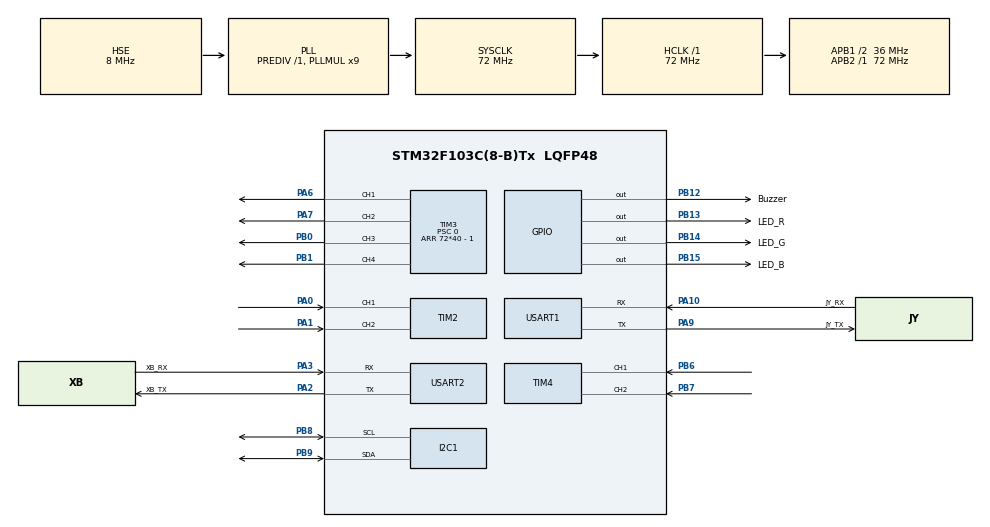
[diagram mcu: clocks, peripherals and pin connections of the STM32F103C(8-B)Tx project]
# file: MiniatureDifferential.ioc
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Dma.Request0=USART2_RX
Dma.Request1=USART1_RX
Dma.USART1_RX.1.Direction=DMA_PERIPH_TO_MEMORY
Dma.USART1_RX.1.Instance=DMA1_Channel5
Dma.USART1_RX.1.MemDataAlignment=DMA_MDATAALIGN_BYTE
Dma.USART1_RX.1.MemInc=DMA_MINC_ENABLE
Dma.USART1_RX.1.Mode=DMA_NORMAL
Dma.USART1_RX.1.PeriphDataAlignment=DMA_PDATAALIGN_BYTE
Dma.USART1_RX.1.PeriphInc=DMA_PINC_DISABLE
Dma.USART1_RX.1.Priority=DMA_PRIORITY_LOW
Dma.USART2_RX.0.Direction=DMA_PERIPH_TO_MEMORY
Dma.USART2_RX.0.Instance=DMA1_Channel6
Dma.USART2_RX.0.MemDataAlignment=DMA_MDATAALIGN_BYTE
Dma.USART2_RX.0.MemInc=DMA_MINC_ENABLE
Dma.USART2_RX.0.Mode=DMA_NORMAL
Dma.USART2_RX.0.PeriphDataAlignment=DMA_PDATAALIGN_BYTE
Dma.USART2_RX.0.PeriphInc=DMA_PINC_DISABLE
Dma.USART2_RX.0.Priority=DMA_PRIORITY_LOW
Mcu.Family=STM32F1
Mcu.Name=STM32F103C(8-B)Tx
Mcu.Package=LQFP48
NVIC.DMA1_Channel5_IRQn=true\:2\:0\:true\:false\:true\:false\:true\:true
NVIC.DMA1_Channel6_IRQn=true\:3\:0\:true\:false\:true\:false\:true\:true
NVIC.PriorityGroup=NVIC_PRIORITYGROUP_4
NVIC.TIM1_UP_IRQn=true\:1\:0\:true\:false\:true\:true\:true\:true
PA0-WKUP.Signal=S_TIM2_CH1_ETR
PA1.Signal=S_TIM2_CH2
PA10.GPIO_Label=JY_RX
PA10.Mode=Asynchronous
PA10.Signal=USART1_RX
PA13.Mode=Serial_Wire
PA13.Signal=SYS_JTMS-SWDIO
PA14.Mode=Serial_Wire
PA14.Signal=SYS_JTCK-SWCLK
PA2.GPIO_Label=XB_TX
PA2.Mode=Asynchronous
PA2.Signal=USART2_TX
PA3.GPIO_Label=XB_RX
PA3.Mode=Asynchronous
PA3.Signal=USART2_RX
PA6.Signal=S_TIM3_CH1
PA7.Signal=S_TIM3_CH2
PA9.GPIO_Label=JY_TX
PA9.Mode=Asynchronous
PA9.Signal=USART1_TX
PB0.Signal=S_TIM3_CH3
PB1.Signal=S_TIM3_CH4
PB12.GPIO_Label=Buzzer
PB12.Signal=GPIO_Output
PB13.GPIO_Label=LED_R
PB13.Signal=GPIO_Output
PB14.GPIO_Label=LED_G
PB14.Signal=GPIO_Output
PB15.GPIO_Label=LED_B
PB15.Signal=GPIO_Output
PB6.Signal=S_TIM4_CH1
PB7.Signal=S_TIM4_CH2
PB8.Mode=I2C
PB8.Signal=I2C1_SCL
PB9.Mode=I2C
PB9.Signal=I2C1_SDA
PD0-OSC_IN.Mode=HSE-External-Oscillator
PD0-OSC_IN.Signal=RCC_OSC_IN
PD1-OSC_OUT.Mode=HSE-External-Oscillator
PD1-OSC_OUT.Signal=RCC_OSC_OUT
ProjectManager.HeapSize=0x200
ProjectManager.StackSize=0x400
ProjectManager.TargetToolchain=STM32CubeIDE
RCC.AHBFreq_Value=72000000
RCC.APB1CLKDivider=RCC_HCLK_DIV2
RCC.APB1Freq_Value=36000000
RCC.APB1TimFreq_Value=72000000
RCC.APB2Freq_Value=72000000
RCC.APB2TimFreq_Value=72000000
RCC.HCLKFreq_Value=72000000
RCC.PLLMUL=RCC_PLL_MUL9
RCC.PLLSourceVirtual=RCC_PLLSOURCE_HSE
RCC.SYSCLKFreq_VALUE=72000000
RCC.SYSCLKSource=RCC_SYSCLKSOURCE_PLLCLK
RCC.USBFreq_Value=72000000
SH.S_TIM2_CH1_ETR.0=TIM2_CH1,Encoder_Interface
SH.S_TIM2_CH2.0=TIM2_CH2,Encoder_Interface
SH.S_TIM3_CH1.0=TIM3_CH1,PWM Generation1 CH1
SH.S_TIM3_CH2.0=TIM3_CH2,PWM Generation2 CH2
SH.S_TIM3_CH3.0=TIM3_CH3,PWM Generation3 CH3
SH.S_TIM3_CH4.0=TIM3_CH4,PWM Generation4 CH4
SH.S_TIM4_CH1.0=TIM4_CH1,Encoder_Interface
SH.S_TIM4_CH2.0=TIM4_CH2,Encoder_Interface
TIM1.Period=50000 - 1
TIM1.Prescaler=72 - 1
TIM2.EncoderMode=TIM_ENCODERMODE_TI12
TIM3.Channel-PWM\ Generation1\ CH1=TIM_CHANNEL_1
TIM3.Channel-PWM\ Generation2\ CH2=TIM_CHANNEL_2
TIM3.Channel-PWM\ Generation3\ CH3=TIM_CHANNEL_3
TIM3.Channel-PWM\ Generation4\ CH4=TIM_CHANNEL_4
TIM3.Period=72*40 - 1
TIM3.Prescaler=0
TIM4.EncoderMode=TIM_ENCODERMODE_TI12
TIM4.IC1Polarity=TIM_ICPOLARITY_FALLING
USART1.VirtualMode=VM_ASYNC
USART2.VirtualMode=VM_ASYNC
VP_TIM1_VS_ClockSourceINT.Mode=Internal
VP_TIM3_VS_ClockSourceINT.Mode=Internal
board=custom

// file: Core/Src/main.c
/* USER CODE BEGIN Header */
/**
 ******************************************************************************
 * @file           : main.c
 * @brief          : Main program body
 ******************************************************************************
 * @attention
 *
 * Copyright (c) 2022 STMicroelectronics.
 * All rights reserved.
 *
 * This software is licensed under terms that can be found in the LICENSE file
 * in the root directory of this software component.
 * If no LICENSE file comes with this software, it is provided AS-IS.
 *
 ******************************************************************************
 */
/* USER CODE END Header */
#include "main.h"

/* USER CODE BEGIN Includes */
#include <stdio.h>
/* USER CODE END Includes */

/* USER CODE BEGIN PD */
#define HUANSIC_DEBUG 1
/* USER CODE END PD */

/* USER CODE BEGIN PM */
#define RED_LED_ON	HAL_GPIO_WritePin(LED_R_GPIO_Port, LED_R_Pin, 1)
#define RED_LED_OFF	HAL_GPIO_WritePin(LED_R_GPIO_Port, LED_R_Pin, 0)
#define RED_LED_TOGGLE	HAL_GPIO_TogglePin(LED_R_GPIO_Port, LED_R_Pin)
#define GREEN_LED_ON	HAL_GPIO_WritePin(LED_G_GPIO_Port, LED_G_Pin, 1)
#define GREEN_LED_OFF	HAL_GPIO_WritePin(LED_G_GPIO_Port, LED_G_Pin, 0)
#define GREEN_LED_TOGGLE	HAL_GPIO_TogglePin(LED_G_GPIO_Port, LED_G_Pin)
#define BLUE_LED_ON 	HAL_GPIO_WritePin(LED_B_GPIO_Port, LED_B_Pin, 1)
#define BLUE_LED_OFF	HAL_GPIO_WritePin(LED_B_GPIO_Port, LED_B_Pin, 0)
#define BLUE_LED_TOGGLE	HAL_GPIO_TogglePin(LED_B_GPIO_Port, LED_B_Pin)
#define BUZZER_ON 	HAL_GPIO_WritePin(Buzzer_GPIO_Port, Buzzer_Pin, 1)
#define BUZZER_OFF	HAL_GPIO_WritePin(Buzzer_GPIO_Port, Buzzer_Pin, 0)
#define BUZZER_TOGGLE	HAL_GPIO_TogglePin(Buzzer_GPIO_Port, Buzzer_Pin)

#define RED_LED_BLINK(n) do{uint8_t i; for(i = 0; i < n; i++){RED_LED_ON; HAL_Delay(150); RED_LED_OFF; HAL_Delay(150);}} while(0)
/* USER CODE END PM */

I2C_HandleTypeDef hi2c1;

TIM_HandleTypeDef htim1;
TIM_HandleTypeDef htim2;
TIM_HandleTypeDef htim3;
TIM_HandleTypeDef htim4;

UART_HandleTypeDef huart1;
UART_HandleTypeDef huart2;
DMA_HandleTypeDef hdma_usart1_rx;
DMA_HandleTypeDef hdma_usart2_rx;

/* USER CODE BEGIN PV */
// instances
Motor_HandleTypeDef hmotor_left, hmotor_right;
JY62_HandleTypeDef himu;
XB_HandleTypeDef hxb;

// game information 0
const Rectangle gameBoarder[8] = {
		{ .x1 = 38, .y1 = 38, .x2 = 107, .y2 = 40 },
		{ .x1 = 38, .y1 = 38, .x2 = 40, .y2 = 107 },
		{ .x1 = 147, .y1 = 38, .x2 = 216, .y2 = 40 },
		{ .x1 = 214, .y1 = 38, .x2 = 216, .y2 = 107 },
		{ .x1 = 214, .y1 = 147, .x2 = 216, .y2 = 216 },
		{ .x1 = 147, .y1 = 214, .x2 = 216, .y2 = 216 },
		{ .x1 = 38, .y1 = 214, .x2 = 107, .y2 = 216 },
		{ .x1 = 38, .y1 = 147, .x2 = 40, .y2 = 216 }
};

// game information 1
uint8_t gameStage;			// 0: pre-match(standby); 1: first half; 2: second half
uint8_t gameStatus;			// 0: standby; 1: running
uint32_t gameStageTimeLimit;		// in ms
uint32_t gameStageTimeSinceStart;	// in ms
Rectangle obstacles[5];			// area that depletes charge faster
Coordinate allyBeacons[3];		// ally charging station coordinate
Coordinate oppoBeacons[3];		// opponent charging station coordinate

// game information 2
Order *delivering[5];		// package picked up but not yet delivered

// game information 3
Coordinate myCoord;			// precise coordinate returned by game master
double angleZ, omegaZ, accelY;		// turning speed and linear acceleration
float myScore;				// current score returned by Master
float myCharge;				// current charge returned by Master

// interchange information 1
uint32_t gameStageTimeLeft;		// in ms

// OLED display buffer
char firstLine[16], secondLine[16], thirdLine[16], fourthLine[16];		// 128 / 8 = 16

// manual control mode flag
uint8_t useRemoteControl;
/* USER CODE END PV */

void SystemClock_Config(void);
static void MX_GPIO_Init(void);
static void MX_DMA_Init(void);
static void MX_I2C1_Init(void);
static void MX_TIM1_Init(void);
static void MX_TIM2_Init(void);
static void MX_TIM3_Init(void);
static void MX_TIM4_Init(void);
static void MX_USART2_UART_Init(void);
static void MX_USART1_UART_Init(void);
/* USER CODE BEGIN PFP */
static void HUAN_MOTOR_LEFT_Init(void);
static void HUAN_MOTOR_RIGHT_Init(void);
static void HUAN_IMU_Init(void);
static void HUAN_ZIGBEE_Init(void);
void HUAN_OLED_PRINT_INFO(void);
/* USER CODE END PFP */

int main(void)
{

	/* MCU Configuration--------------------------------------------------------*/

	/* Reset of all peripherals, Initializes the Flash interface and the Systick. */
	HAL_Init();

	/* Configure the system clock */
	SystemClock_Config();

	/* Initialize all configured peripherals */
	MX_GPIO_Init();
	MX_DMA_Init();
	MX_I2C1_Init();
	MX_TIM1_Init();
	MX_TIM2_Init();
	MX_TIM3_Init();
	MX_TIM4_Init();
	MX_USART2_UART_Init();
	MX_USART1_UART_Init();
	/* USER CODE BEGIN 2 */
	useRemoteControl = 0;
	gameStatus = 0;

	BLUE_LED_ON;		// blink white for 500ms to indicate start up success
	GREEN_LED_ON;
	RED_LED_ON;
	HAL_Delay(500);
	GREEN_LED_OFF;
	BLUE_LED_OFF;

	// RED_LED_ON;
	HUAN_IMU_Init();
	HAL_Delay(10);
	HUAN_ZIGBEE_Init();
	HAL_Delay(10);
	ssd1306_Init();
	HAL_Delay(10);
	huansic_jy62_resetAngle(&himu);		// reset Z angle
	HAL_Delay(10);
	HUAN_MOTOR_LEFT_Init();
	HUAN_MOTOR_RIGHT_Init();
	HAL_Delay(10);
	HAL_TIM_Base_Start_IT(&htim1);		// for PID
	HAL_Delay(10);
	RED_LED_OFF;		// initialization done
	sprintf(firstLine, "Good");
	ssd1306_WriteString(firstLine, Font_6x8, White);
	ssd1306_UpdateScreen();
	// BLUE_LED_ON;		// ready for operation

	/* USER CODE END 2 */

	/* Infinite loop */
	/* USER CODE BEGIN WHILE */
	uint8_t i = 0, j = 0;
	while (1) {
		j++;
		while (!gameStatus || useRemoteControl) {
			sprintf(firstLine, "Good %3d %3d", i++, j);
			// if the game is not running (or in remote mode)
			if (useRemoteControl)
				sprintf(secondLine, "Remote!");
			else
				sprintf(secondLine, "No Remote!");
			sprintf(thirdLine, "%lx", hxb.lastUpdated);

			ssd1306_SetCursor(0, 0);
			ssd1306_WriteString(firstLine, Font_6x8, White);
			ssd1306_SetCursor(0, 8);
			ssd1306_WriteString(secondLine, Font_6x8, White);
			ssd1306_SetCursor(0, 16);
			ssd1306_WriteString(thirdLine, Font_6x8, White);
			ssd1306_SetCursor(0, 24);
			ssd1306_WriteString(fourthLine, Font_6x8, White);
			ssd1306_UpdateScreen();
			HAL_Delay(200);
		}

		GREEN_LED_ON;
		while (gameStage == 0) {		// pre-match
			if (!gameStatus || useRemoteControl) {	// if the game stopped or remote kicks in
				GREEN_LED_OFF;
				BLUE_LED_ON;
				break;
			}
			// do some initialization

			// find angle offset
		}

		while (gameStage == 1) {			// first-half
			if (!gameStatus || useRemoteControl) {	// if the game stopped or remote kicks in
				GREEN_LED_OFF;
				BLUE_LED_ON;
				break;
			}

		}

		while (gameStage == 2) {			// second-half
			if (!gameStatus || useRemoteControl) {	// if the game stopped or remote kicks in
				GREEN_LED_OFF;
				BLUE_LED_ON;
				break;
			}

		}
		/* USER CODE END WHILE */

	}
}

void SystemClock_Config(void)
{
	RCC_OscInitTypeDef RCC_OscInitStruct = { 0 };
	RCC_ClkInitTypeDef RCC_ClkInitStruct = { 0 };

	/** Initializes the RCC Oscillators according to the specified parameters
	 * in the RCC_OscInitTypeDef structure.
	 */
	RCC_OscInitStruct.OscillatorType = RCC_OSCILLATORTYPE_HSE;
	RCC_OscInitStruct.HSEState = RCC_HSE_ON;
	RCC_OscInitStruct.HSEPredivValue = RCC_HSE_PREDIV_DIV1;
	RCC_OscInitStruct.HSIState = RCC_HSI_ON;
	RCC_OscInitStruct.PLL.PLLState = RCC_PLL_ON;
	RCC_OscInitStruct.PLL.PLLSource = RCC_PLLSOURCE_HSE;
	RCC_OscInitStruct.PLL.PLLMUL = RCC_PLL_MUL9;
	if (HAL_RCC_OscConfig(&RCC_OscInitStruct) != HAL_OK)
			{
		Error_Handler();
	}

	/** Initializes the CPU, AHB and APB buses clocks
	 */
	RCC_ClkInitStruct.ClockType = RCC_CLOCKTYPE_HCLK | RCC_CLOCKTYPE_SYSCLK
			| RCC_CLOCKTYPE_PCLK1 | RCC_CLOCKTYPE_PCLK2;
	RCC_ClkInitStruct.SYSCLKSource = RCC_SYSCLKSOURCE_PLLCLK;
	RCC_ClkInitStruct.AHBCLKDivider = RCC_SYSCLK_DIV1;
	RCC_ClkInitStruct.APB1CLKDivider = RCC_HCLK_DIV2;
	RCC_ClkInitStruct.APB2CLKDivider = RCC_HCLK_DIV1;

	if (HAL_RCC_ClockConfig(&RCC_ClkInitStruct, FLASH_LATENCY_2) != HAL_OK)
			{
		Error_Handler();
	}
}

static void MX_I2C1_Init(void)
{

	hi2c1.Instance = I2C1;
	hi2c1.Init.ClockSpeed = 100000;
	hi2c1.Init.DutyCycle = I2C_DUTYCYCLE_2;
	hi2c1.Init.OwnAddress1 = 0;
	hi2c1.Init.AddressingMode = I2C_ADDRESSINGMODE_7BIT;
	hi2c1.Init.DualAddressMode = I2C_DUALADDRESS_DISABLE;
	hi2c1.Init.OwnAddress2 = 0;
	hi2c1.Init.GeneralCallMode = I2C_GENERALCALL_DISABLE;
	hi2c1.Init.NoStretchMode = I2C_NOSTRETCH_DISABLE;
	if (HAL_I2C_Init(&hi2c1) != HAL_OK)
			{
		Error_Handler();
	}

}

static void MX_TIM1_Init(void)
{

	TIM_ClockConfigTypeDef sClockSourceConfig = { 0 };
	TIM_MasterConfigTypeDef sMasterConfig = { 0 };

	htim1.Instance = TIM1;
	htim1.Init.Prescaler = 72 - 1;
	htim1.Init.CounterMode = TIM_COUNTERMODE_UP;
	htim1.Init.Period = 50000 - 1;
	htim1.Init.ClockDivision = TIM_CLOCKDIVISION_DIV1;
	htim1.Init.RepetitionCounter = 0;
	htim1.Init.AutoReloadPreload = TIM_AUTORELOAD_PRELOAD_DISABLE;
	if (HAL_TIM_Base_Init(&htim1) != HAL_OK)
			{
		Error_Handler();
	}
	sClockSourceConfig.ClockSource = TIM_CLOCKSOURCE_INTERNAL;
	if (HAL_TIM_ConfigClockSource(&htim1, &sClockSourceConfig) != HAL_OK)
			{
		Error_Handler();
	}
	sMasterConfig.MasterOutputTrigger = TIM_TRGO_RESET;
	sMasterConfig.MasterSlaveMode = TIM_MASTERSLAVEMODE_DISABLE;
	if (HAL_TIMEx_MasterConfigSynchronization(&htim1, &sMasterConfig) != HAL_OK)
			{
		Error_Handler();
	}

}

static void MX_TIM2_Init(void)
{

	TIM_Encoder_InitTypeDef sConfig = { 0 };
	TIM_MasterConfigTypeDef sMasterConfig = { 0 };

	htim2.Instance = TIM2;
	htim2.Init.Prescaler = 0;
	htim2.Init.CounterMode = TIM_COUNTERMODE_UP;
	htim2.Init.Period = 65535;
	htim2.Init.ClockDivision = TIM_CLOCKDIVISION_DIV1;
	htim2.Init.AutoReloadPreload = TIM_AUTORELOAD_PRELOAD_DISABLE;
	sConfig.EncoderMode = TIM_ENCODERMODE_TI12;
	sConfig.IC1Polarity = TIM_ICPOLARITY_RISING;
	sConfig.IC1Selection = TIM_ICSELECTION_DIRECTTI;
	sConfig.IC1Prescaler = TIM_ICPSC_DIV1;
	sConfig.IC1Filter = 0;
	sConfig.IC2Polarity = TIM_ICPOLARITY_RISING;
	sConfig.IC2Selection = TIM_ICSELECTION_DIRECTTI;
	sConfig.IC2Prescaler = TIM_ICPSC_DIV1;
	sConfig.IC2Filter = 0;
	if (HAL_TIM_Encoder_Init(&htim2, &sConfig) != HAL_OK)
			{
		Error_Handler();
	}
	sMasterConfig.MasterOutputTrigger = TIM_TRGO_RESET;
	sMasterConfig.MasterSlaveMode = TIM_MASTERSLAVEMODE_DISABLE;
	if (HAL_TIMEx_MasterConfigSynchronization(&htim2, &sMasterConfig) != HAL_OK)
			{
		Error_Handler();
	}

}

static void MX_TIM3_Init(void)
{

	TIM_ClockConfigTypeDef sClockSourceConfig = { 0 };
	TIM_MasterConfigTypeDef sMasterConfig = { 0 };
	TIM_OC_InitTypeDef sConfigOC = { 0 };

	htim3.Instance = TIM3;
	htim3.Init.Prescaler = 0;
	htim3.Init.CounterMode = TIM_COUNTERMODE_UP;
	htim3.Init.Period = 72 * 40 - 1;
	htim3.Init.ClockDivision = TIM_CLOCKDIVISION_DIV1;
	htim3.Init.AutoReloadPreload = TIM_AUTORELOAD_PRELOAD_DISABLE;
	if (HAL_TIM_Base_Init(&htim3) != HAL_OK)
			{
		Error_Handler();
	}
	sClockSourceConfig.ClockSource = TIM_CLOCKSOURCE_INTERNAL;
	if (HAL_TIM_ConfigClockSource(&htim3, &sClockSourceConfig) != HAL_OK)
			{
		Error_Handler();
	}
	if (HAL_TIM_PWM_Init(&htim3) != HAL_OK)
			{
		Error_Handler();
	}
	sMasterConfig.MasterOutputTrigger = TIM_TRGO_RESET;
	sMasterConfig.MasterSlaveMode = TIM_MASTERSLAVEMODE_DISABLE;
	if (HAL_TIMEx_MasterConfigSynchronization(&htim3, &sMasterConfig) != HAL_OK)
			{
		Error_Handler();
	}
	sConfigOC.OCMode = TIM_OCMODE_PWM1;
	sConfigOC.Pulse = 0;
	sConfigOC.OCPolarity = TIM_OCPOLARITY_HIGH;
	sConfigOC.OCFastMode = TIM_OCFAST_DISABLE;
	if (HAL_TIM_PWM_ConfigChannel(&htim3, &sConfigOC, TIM_CHANNEL_1) != HAL_OK)
			{
		Error_Handler();
	}
	if (HAL_TIM_PWM_ConfigChannel(&htim3, &sConfigOC, TIM_CHANNEL_2) != HAL_OK)
			{
		Error_Handler();
	}
	if (HAL_TIM_PWM_ConfigChannel(&htim3, &sConfigOC, TIM_CHANNEL_3) != HAL_OK)
			{
		Error_Handler();
	}
	if (HAL_TIM_PWM_ConfigChannel(&htim3, &sConfigOC, TIM_CHANNEL_4) != HAL_OK)
			{
		Error_Handler();
	}
	HAL_TIM_MspPostInit(&htim3);

}

static void MX_TIM4_Init(void)
{

	TIM_Encoder_InitTypeDef sConfig = { 0 };
	TIM_MasterConfigTypeDef sMasterConfig = { 0 };

	htim4.Instance = TIM4;
	htim4.Init.Prescaler = 0;
	htim4.Init.CounterMode = TIM_COUNTERMODE_UP;
	htim4.Init.Period = 65535;
	htim4.Init.ClockDivision = TIM_CLOCKDIVISION_DIV1;
	htim4.Init.AutoReloadPreload = TIM_AUTORELOAD_PRELOAD_DISABLE;
	sConfig.EncoderMode = TIM_ENCODERMODE_TI12;
	sConfig.IC1Polarity = TIM_ICPOLARITY_FALLING;
	sConfig.IC1Selection = TIM_ICSELECTION_DIRECTTI;
	sConfig.IC1Prescaler = TIM_ICPSC_DIV1;
	sConfig.IC1Filter = 0;
	sConfig.IC2Polarity = TIM_ICPOLARITY_RISING;
	sConfig.IC2Selection = TIM_ICSELECTION_DIRECTTI;
	sConfig.IC2Prescaler = TIM_ICPSC_DIV1;
	sConfig.IC2Filter = 0;
	if (HAL_TIM_Encoder_Init(&htim4, &sConfig) != HAL_OK)
			{
		Error_Handler();
	}
	sMasterConfig.MasterOutputTrigger = TIM_TRGO_RESET;
	sMasterConfig.MasterSlaveMode = TIM_MASTERSLAVEMODE_DISABLE;
	if (HAL_TIMEx_MasterConfigSynchronization(&htim4, &sMasterConfig) != HAL_OK)
			{
		Error_Handler();
	}

}

static void MX_USART1_UART_Init(void)
{

	huart1.Instance = USART1;
	huart1.Init.BaudRate = 115200;
	huart1.Init.WordLength = UART_WORDLENGTH_8B;
	huart1.Init.StopBits = UART_STOPBITS_1;
	huart1.Init.Parity = UART_PARITY_NONE;
	huart1.Init.Mode = UART_MODE_TX_RX;
	huart1.Init.HwFlowCtl = UART_HWCONTROL_NONE;
	huart1.Init.OverSampling = UART_OVERSAMPLING_16;
	if (HAL_UART_Init(&huart1) != HAL_OK)
			{
		Error_Handler();
	}

}

static void MX_USART2_UART_Init(void)
{

	huart2.Instance = USART2;
	huart2.Init.BaudRate = 115200;
	huart2.Init.WordLength = UART_WORDLENGTH_8B;
	huart2.Init.StopBits = UART_STOPBITS_1;
	huart2.Init.Parity = UART_PARITY_NONE;
	huart2.Init.Mode = UART_MODE_TX_RX;
	huart2.Init.HwFlowCtl = UART_HWCONTROL_NONE;
	huart2.Init.OverSampling = UART_OVERSAMPLING_16;
	if (HAL_UART_Init(&huart2) != HAL_OK)
			{
		Error_Handler();
	}

}

static void MX_DMA_Init(void)
{

	/* DMA controller clock enable */
	__HAL_RCC_DMA1_CLK_ENABLE();

	/* DMA interrupt init */
	/* DMA1_Channel5_IRQn interrupt configuration */
	HAL_NVIC_SetPriority(DMA1_Channel5_IRQn, 2, 0);
	HAL_NVIC_EnableIRQ(DMA1_Channel5_IRQn);
	/* DMA1_Channel6_IRQn interrupt configuration */
	HAL_NVIC_SetPriority(DMA1_Channel6_IRQn, 3, 0);
	HAL_NVIC_EnableIRQ(DMA1_Channel6_IRQn);

}

static void MX_GPIO_Init(void)
{
	GPIO_InitTypeDef GPIO_InitStruct = { 0 };

	/* GPIO Ports Clock Enable */
	__HAL_RCC_GPIOD_CLK_ENABLE();
	__HAL_RCC_GPIOA_CLK_ENABLE();
	__HAL_RCC_GPIOB_CLK_ENABLE();

	/*Configure GPIO pin Output Level */
	HAL_GPIO_WritePin(GPIOB, Buzzer_Pin | LED_R_Pin | LED_G_Pin | LED_B_Pin, GPIO_PIN_RESET);

	/*Configure GPIO pins : Buzzer_Pin LED_R_Pin LED_G_Pin LED_B_Pin */
	GPIO_InitStruct.Pin = Buzzer_Pin | LED_R_Pin | LED_G_Pin | LED_B_Pin;
	GPIO_InitStruct.Mode = GPIO_MODE_OUTPUT_PP;
	GPIO_InitStruct.Pull = GPIO_NOPULL;
	GPIO_InitStruct.Speed = GPIO_SPEED_FREQ_LOW;
	HAL_GPIO_Init(GPIOB, &GPIO_InitStruct);

}

/* USER CODE BEGIN 4 */
static void HUAN_MOTOR_LEFT_Init(void) {
	hmotor_left.counter = &htim4;
	hmotor_left.dt = 0.05;
	hmotor_left.posTimer = &htim3;
	hmotor_left.pos_channel = TIM_CHANNEL_4;
	hmotor_left.negTimer = &htim3;
	hmotor_left.neg_channel = TIM_CHANNEL_3;
	hmotor_left.kp = 0.00005;
	hmotor_left.ki = 0.0001;
	hmotor_left.kd = 0.0000;
	huansic_motor_init(&hmotor_left);
}

static void HUAN_MOTOR_RIGHT_Init(void) {
	hmotor_right.counter = &htim2;
	hmotor_right.dt = 0.05;
	hmotor_right.posTimer = &htim3;
	hmotor_right.pos_channel = TIM_CHANNEL_1;
	hmotor_right.negTimer = &htim3;
	hmotor_right.neg_channel = TIM_CHANNEL_2;
	hmotor_right.kp = 0.00005;
	hmotor_right.ki = 0.0001;
	hmotor_right.kd = 0.0000;
	huansic_motor_init(&hmotor_right);
}

static void HUAN_IMU_Init(void) {
	himu.uartPort = &huart1;
	huansic_jy62_init(&himu);
}

static void HUAN_ZIGBEE_Init(void) {
	hxb.uartPort = &huart2;
	huansic_xb_init(&hxb);
}

#if HUANSIC_DEBUG
void HUAN_OLED_PRINT_INFO(void) {
	ssd1306_SetCursor(0, 0);
	ssd1306_WriteString(firstLine, Font_6x8, White);
	ssd1306_SetCursor(0, 8);
	ssd1306_WriteString(secondLine, Font_6x8, White);
	ssd1306_SetCursor(0, 16);
	ssd1306_WriteString(thirdLine, Font_6x8, White);
	ssd1306_UpdateScreen();
}
#else
void HUAN_OLED_PRINT_INFO(void) {

}
#endif

/* USER CODE END 4 */

void Error_Handler(void)
{
	__disable_irq();
	while (1)
	{
	}
}
